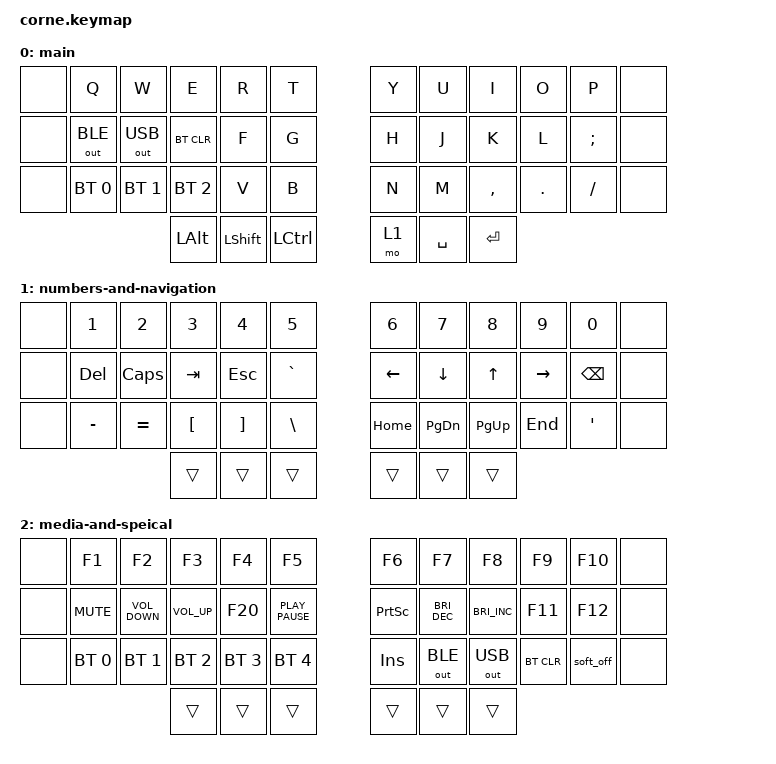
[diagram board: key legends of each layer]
#include <behaviors.dtsi>
#include <dt-bindings/zmk/bt.h>
#include <dt-bindings/zmk/keys.h>
#include <dt-bindings/zmk/outputs.h>

/ {
    combos {
        compatible = "zmk,combos";

        layer2 {
            bindings = <&kp LEFT_GUI>;
            key-positions = <40 41>;
        };

        winkey {
            bindings = <&mo 2>;
            key-positions = <39 40>;
        };
    };

    keymap {
        compatible = "zmk,keymap";

        main {
            bindings = <
&none  &kp Q  &kp W  &kp E     &kp R      &kp T        &kp Y  &kp U      &kp I      &kp O    &kp P     &none
&none  &out OUT_BLE          &out OUT_USB          &bt BT_CLR      &kp F      &kp G        &kp H  &kp J      &kp K      &kp L    &kp SEMI  &none
&none  &bt BT_SEL 0  &bt BT_SEL 1       &bt BT_SEL 2     &kp V      &kp B        &kp N  &kp M      &kp COMMA  &kp DOT  &kp FSLH  &none
                     &kp LALT  &kp LSHFT  &kp LCTRL    &mo 1  &kp SPACE  &kp ENTER
            >;
        };

        numbers-and-navigation {
            bindings = <
&none  &kp N1      &kp N2     &kp N3    &kp N4    &kp N5       &kp N6    &kp N7     &kp N8     &kp N9     &kp N0         &none
&none  &kp DELETE  &kp CAPS   &kp TAB   &kp ESC   &kp GRAVE    &kp LEFT  &kp DOWN   &kp UP     &kp RIGHT  &kp BACKSPACE  &none
&none  &kp MINUS   &kp EQUAL  &kp LBKT  &kp RBKT  &kp BSLH     &kp HOME  &kp PG_DN  &kp PG_UP  &kp END    &kp SQT        &none
                              &trans    &trans    &trans       &trans    &trans     &trans
            >;
        };

        media-and-speical {
            bindings = <
&none  &kp F1        &kp F2             &kp F3           &kp F4        &kp F5              &kp F6           &kp F7                &kp F8                &kp F9      &kp F10    &none
&none  &kp K_MUTE    &kp C_VOLUME_DOWN  &kp C_VOLUME_UP  &kp F20       &kp K_PLAY_PAUSE    &kp PRINTSCREEN  &kp C_BRIGHTNESS_DEC  &kp C_BRIGHTNESS_INC  &kp F11     &kp F12    &none
&none  &bt BT_SEL 0  &bt BT_SEL 1       &bt BT_SEL 2     &bt BT_SEL 3  &bt BT_SEL 4        &kp INS          &out OUT_BLE          &out OUT_USB          &bt BT_CLR  &soft_off  &none
                                        &trans           &trans        &trans              &trans           &trans                &trans
            >;
        };
    };
};
